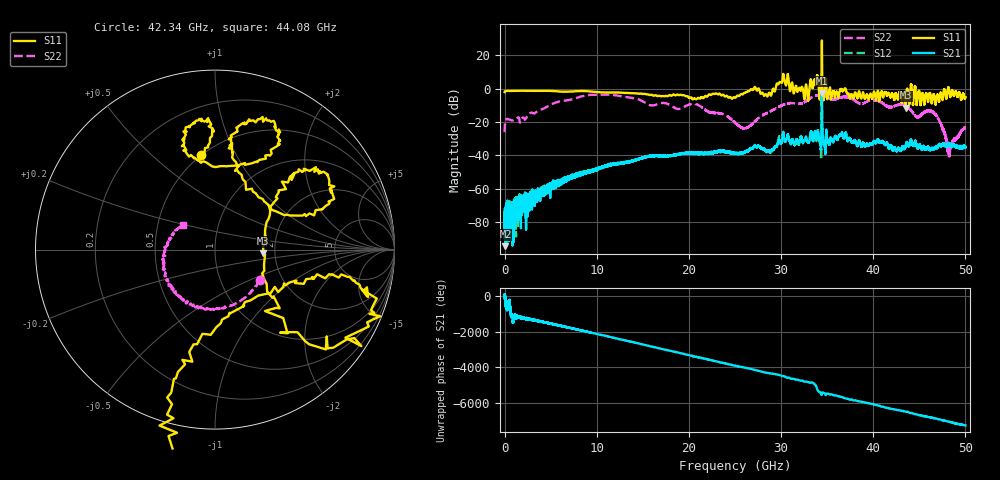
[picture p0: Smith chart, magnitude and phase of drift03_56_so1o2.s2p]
!Created with skrf (http://scikit-rf.org).
# Hz S RI R 50.0
!freq ReS11 ImS11 ReS21 ImS21 ReS12 ImS12 ReS22 ImS22
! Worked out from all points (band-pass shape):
!   10000 points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, 5.3 MHz to 50 GHz, reference 50 ohm
!   highest |S21| = -2.65 dB at 34.43 GHz (marker M1); lowest = -94.3 dB at 90.3 MHz (marker M2)
!   |S21| within 3 dB of the highest: 34.42755 GHz to 34.43444 GHz (6.889 MHz wide, 0.02 % of centre)
!   lowest |S11| = -11.4 dB at 43.52 GHz (marker M3), VSWR 1.73, Z = 86.4 - j3.74 ohm
!   |S11| at or under -10 dB: 43.4884 GHz to 43.54906 GHz (60.65 MHz wide, 0.139 % of centre)
!   |S22| runs from -40.5 to -3.6 dB; largest |S21 - S12| = 0.23
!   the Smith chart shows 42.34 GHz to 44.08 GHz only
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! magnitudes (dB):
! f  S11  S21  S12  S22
! 5.3 MHz  -2.1  -82.3  -71.8  -26.1
! 90.3 MHz  -1.5  -94.3  -74.1  -19.2
! 1.66 GHz  -1.3  -67.1  -70.5  -20.2
! 8.34 GHz  -1.5  -49.9  -50.4  -4.7
! 16.67 GHz  -4.4  -40.4  -40.3  -9.2
! 20.75 GHz  -6.3  -38.4  -38.4  -9.3
! 25.01 GHz  -5.5  -39.0  -39.2  -20.6
! 26.22 GHz  -2.2  -37.4  -37.6  -23.7
! 27.39 GHz  -1.1  -35.0  -34.9  -18.4
! 28.72 GHz  -2.5  -37.5  -37.6  -14.1
! 30.14 GHz  4.4  -29.5  -29.7  -9.9
! 32.74 GHz  2.0  -29.5  -29.3  -7.4
! 33.34 GHz  2.5  -27.4  -27.7  -5.3
! 33.82 GHz  4.0  -29.0  -29.6  -4.3
! 34.43 GHz  28.8  -2.7  -4.7  -4.0
! 36.49 GHz  -0.2  -27.9  -27.8  -5.3
! 41.67 GHz  -3.0  -35.5  -35.3  -10.8
! 43.52 GHz  -11.4  -34.6  -34.3  -10.3
! 44.76 GHz  -8.0  -35.3  -34.9  -16.9
! 46.68 GHz  -6.1  -35.0  -35.5  -15.1
! 48.22 GHz  -0.4  -32.9  -33.0  -37.0
! 50 GHz  -5.2  -35.4  -35.1  -23.4
